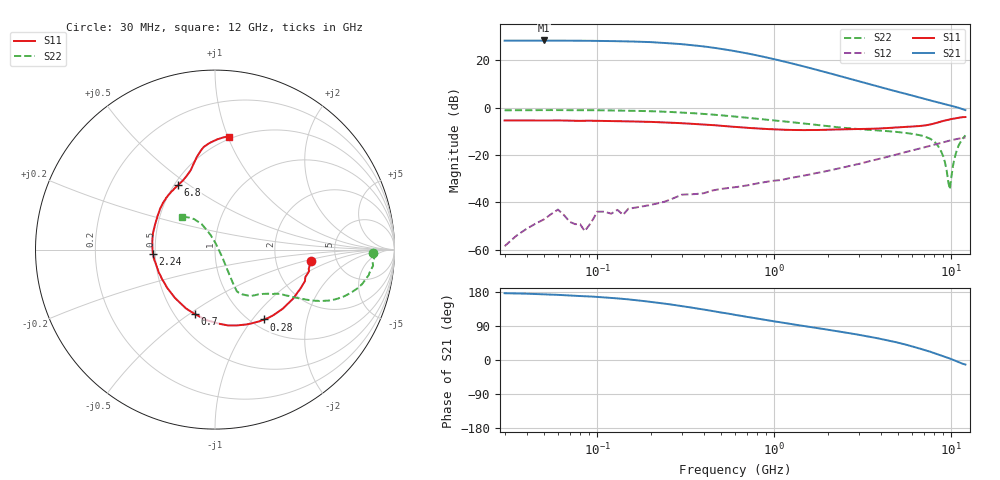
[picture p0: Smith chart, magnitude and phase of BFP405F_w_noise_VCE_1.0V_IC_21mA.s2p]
! Infineon Technologies  Discrete & RF Semiconductors
! BFP405F
! VCE =  1.0 V,  IC =  21 mA
! Common Emitter S-Parameters:  Nov 2015
# GHz  S  MA  R  50
!  f  S11  S21  S12  S22
! GHz  MAG  ANG  MAG  ANG  MAG  ANG  MAG  ANG
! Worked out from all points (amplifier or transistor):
!   239 points, 30 MHz to 12 GHz, reference 50 ohm
!   highest |S21| = 28.3 dB at 50 MHz (marker M1)
!   |S21| within 3 dB of that: start of sweep to 447.2 MHz
!   unconditionally stable (mu >= 1): start of sweep to 41.67 MHz; 73.12 MHz to 86.69 MHz; 954.1 MHz to end of sweep
!   at 300 MHz: K = 0.53, MSG = 31.7 dB, |S12| = -36.7 dB
!   at 1.88 GHz: K = 1.42, MAG = 17.3 dB, |S12| = -27.1 dB
!   at 12 GHz: K = 1.58, MAG = 1.3 dB, |S12| = -12.6 dB
!   lowest NFmin = 2.30 dB at 450 MHz
!   S11 on the Smith chart (normalised r, x): 30 MHz: 3.22, -0.55; 280 MHz: 1.14, -1.15; 700 MHz: 0.63, -0.53; 2.24 GHz: 0.49, -0.03; 6.8 GHz: 0.52, +0.45; 12 GHz: 0.48, +1.01
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0.03  0.5371 -6.5  25.86 176.2  0.0012 112.1  0.879 -1.1
0.05  0.533 -11.6  26.1 173.1  0.0044 81.0  0.8901 -2.8
0.06  0.5379 -13.0  25.91 171.9  0.0071 99.5  0.886 -3.4
0.085  0.5284 -18.2  25.69 168.3  0.0025 80.6  0.8836 -5.3
0.15  0.515 -31.6  24.94 160.0  0.0074 77.7  0.8627 -10.1
0.2  0.501 -41.1  24.09 153.2  0.0089 76.2  0.8419 -13.2
0.24  0.4894 -48.2  23.11 148.8  0.0104 70.7  0.8215 -15.3
0.28  0.4758 -54.9  22.21 144.4  0.0131 67.5  0.7991 -17.2
0.4  0.44 -73.7  19.51 133.0  0.0157 66.7  0.7374 -21.7
0.5  0.4146 -86.4  17.37 125.4  0.0193 64.5  0.6892 -24.4
0.6  0.3946 -98.0  15.53 119.1  0.021 60.9  0.6487 -26.2
0.7  0.3764 -107.4  13.98 113.8  0.0228 61.1  0.6145 -27.5
1  0.3493 -130.0  10.49 101.9  0.0289 60.3  0.5383 -30.2
1.3  0.3373 -146.3  8.287 93.4  0.0341 60.2  0.4863 -32.1
1.64  0.3377 -159.2  6.639 86.3  0.04 62.2  0.4439 -34.1
2.24  0.3465 -175.8  4.858 76.4  0.0509 61.9  0.3895 -39.2
4.5  0.3741 147.5  2.387 50.6  0.0948 56.3  0.3181 -53.8
6.8  0.4138 119.9  1.59 28.6  0.1409 46.1  0.2572 -62.4
8.6  0.5002 103.3  1.261 13.5  0.1779 36.5  0.1361 -58.7
9.8  0.5648 97.3  1.114 3.9  0.2021 29.7  0.019 38.6
10.6  0.5983 92.2  1.031 -2.6  0.2162 24.5  0.1082 111.3
12  0.634 82.8  0.888 -12.0  0.2351 17.4  0.2603 135.1
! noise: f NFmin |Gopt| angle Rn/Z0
0.45  2.3  0.01  -63  0.46
0.9  2.31  0.02  -121  0.35
1.5  2.37  0.04  -124  0.41
1.9  2.45  0.05  -124  0.51
2.4  2.59  0.07  -124  0.18
3  2.69  0.08  -122  0.18
3.5  2.77  0.1  -119  0.26
4.5  3.02  0.15  -105  0.51
5.5  3.36  0.26  -88  0.5
